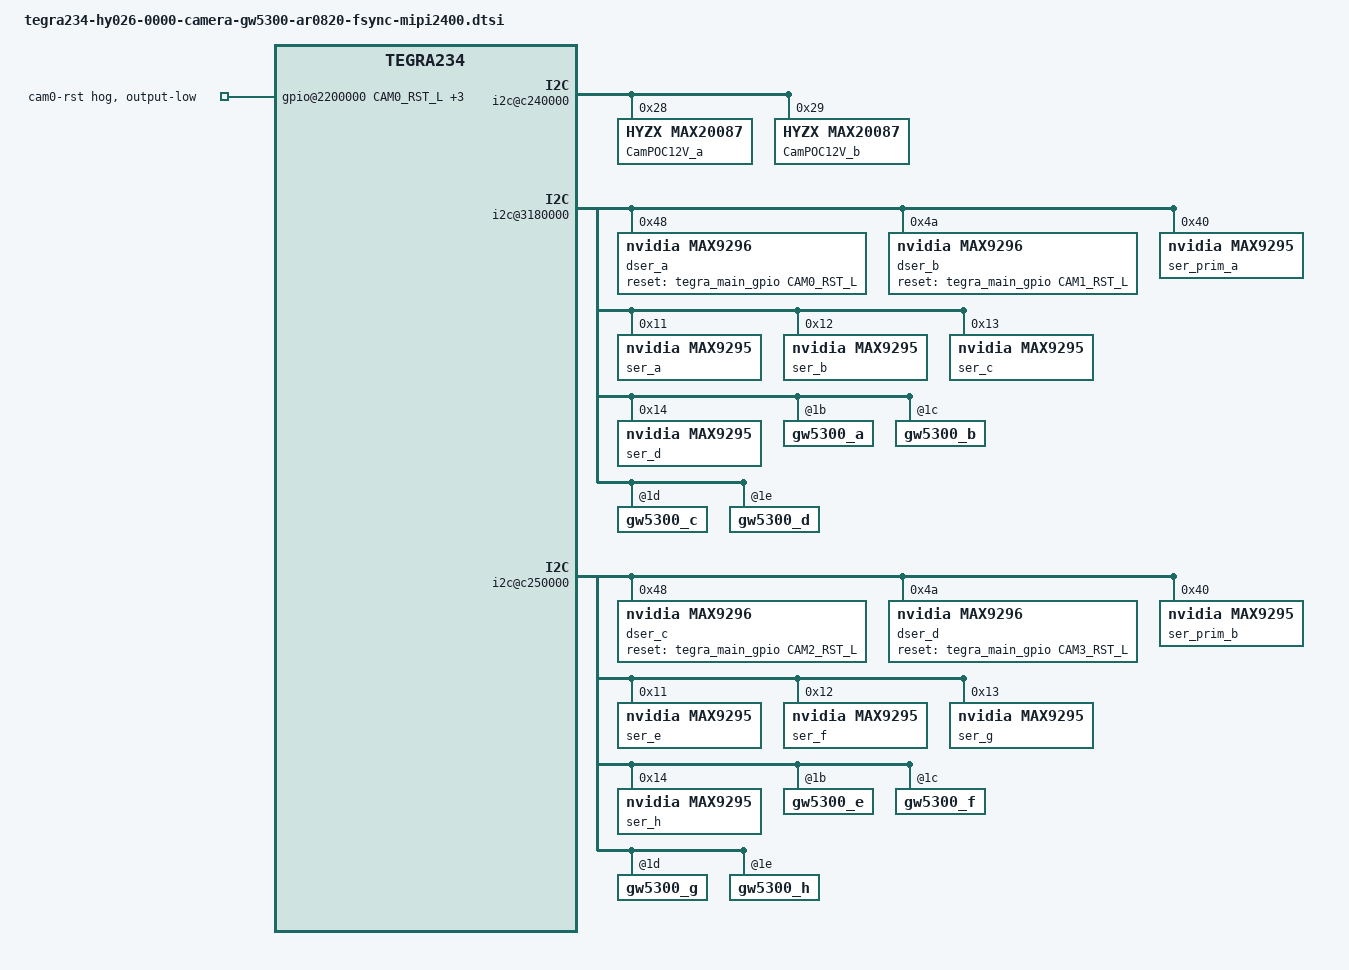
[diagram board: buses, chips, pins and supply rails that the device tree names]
/*
 * Copyright (c) 2018-2019, NVIDIA CORPORATION.  All rights reserved.
 *
 * This program is free software; you can redistribute it and/or modify
 * it under the terms of the GNU General Public License as published by
 * the Free Software Foundation; either version 2 of the License, or
 * (at your option) any later version.
 *
 * This program is distributed in the hope that it will be useful, but WITHOUT
 * ANY WARRANTY; without even the implied warranty of MERCHANTABILITY or
 * FITNESS FOR A PARTICULAR PURPOSE.  See the GNU General Public License for
 * more details.
 *
 * You should have received a copy of the GNU General Public License
 * along with this program.  If not, see <http://www.gnu.org/licenses/>.
 */
#include <t234-common-modules/tegra234-hy026-camera-gw5300-ar0820.dtsi>
#include "dt-bindings/clock/tegra234-clock.h"

#define CAMERA_I2C_MUX_BUS(x) (0x1E + x)

/* camera control gpio definitions */

/ {

	/* set camera gpio direction to output */
	gpio@2200000 {
		camera-control-output-low {
			gpio-hog;
			output-low;
			gpios = <CAM0_RST_L 0 CAM1_RST_L 0
				 CAM2_RST_L 0 CAM3_RST_L 0>;

			label = "cam0-rst", "cam1-rst",
				"cam2-rst", "cam3-rst";
		};
	};

	i2c@c240000 {
        CamPOC12V_a: max2008X@00{
            compatible = "HYZX,max20087";
            reg = <0x28>;
            out-ports = <4>;
            out-boot-on = <1 1 1 1>;
            power-on-delay = <250>;
            status = "okay";
        };
        CamPOC12V_b: max2008X@01{
            compatible = "HYZX,max20087";
            reg = <0x29>;
            out-ports = <4>;
            out-boot-on = <1 1 1 1>;
            power-on-delay = <250>;
            status = "okay";
        };
	};

	i2c@3180000 {
				dser_a: max9296@48{
					compatible = "nvidia,max9296";
					reg = <0x48>;
					csi-mode = "2x4";
					max-src = <2>;
					dser-num = <0>;
					mipi-clk = <2400>;  /* mipi-clk: MHz */
					reset-gpios = <&tegra_main_gpio CAM0_RST_L GPIO_ACTIVE_HIGH>;
				};

				dser_b: max9296@4a{
					compatible = "nvidia,max9296";
					reg = <0x4a>;
					csi-mode = "2x4";
					max-src = <2>;
					dser-num = <1>;
					mipi-clk = <2400>;  /* mipi-clk: MHz */
					reset-gpios = <&tegra_main_gpio CAM1_RST_L GPIO_ACTIVE_HIGH>;
				};

				ser_prim_a: max9295_prim@40 {
					compatible = "nvidia,max9295";
					reg = <0x40>;
					group=<0>;
					is-prim-ser;
				};
				ser_a: max9295_a@11 {
					compatible = "nvidia,max9295";
					reg = <0x11>;
					group=<0>;
					dser-num = <0>;
					nvidia,gmsl-dser-device = <&dser_a>;
				};
				ser_b: max9295_b@12 {
					compatible = "nvidia,max9295";
					reg = <0x12>;
					group=<0>;
					dser-num = <0>;
					nvidia,gmsl-dser-device = <&dser_a>;
				};
				ser_c: max9295_c@13 {
					compatible = "nvidia,max9295";
					reg = <0x13>;
					group=<0>;
					dser-num = <1>;
					nvidia,gmsl-dser-device = <&dser_b>;
				};
				ser_d: max9295_d@14 {
					compatible = "nvidia,max9295";
					reg = <0x14>;
					group=<0>;
					dser-num = <1>;
					nvidia,gmsl-dser-device = <&dser_b>;
				};
				gw5300_a@1b {
					def-addr = <0x6d>;
					clocks = <&bpmp_clks TEGRA234_CLK_EXTPERIPH1>,
							<&bpmp_clks TEGRA234_CLK_EXTPERIPH1>;
					clock-names = "extperiph1", "pllp_grtba";
					mclk = "extperiph1";
					dser-num = <0>;
					nvidia,gmsl-ser-device = <&ser_a>;
					nvidia,gmsl-dser-device = <&dser_a>;
					gmsl-link {
						frame-sync-en;
					};
				};
				gw5300_b@1c {
					def-addr = <0x6d>;
					clocks = <&bpmp_clks TEGRA234_CLK_EXTPERIPH1>,
							<&bpmp_clks TEGRA234_CLK_EXTPERIPH1>;
					clock-names = "extperiph1", "pllp_grtba";
					mclk = "extperiph1";
					dser-num = <0>;
					nvidia,gmsl-ser-device = <&ser_b>;
					nvidia,gmsl-dser-device = <&dser_a>;
					gmsl-link {
						frame-sync-en;
					};
				};
				gw5300_c@1d {
					def-addr = <0x6d>;
					clocks = <&bpmp_clks TEGRA234_CLK_EXTPERIPH1>,
							<&bpmp_clks TEGRA234_CLK_EXTPERIPH1>;
					clock-names = "extperiph1", "pllp_grtba";
					mclk = "extperiph1";
					dser-num = <1>;
					nvidia,gmsl-ser-device = <&ser_c>;
					nvidia,gmsl-dser-device = <&dser_b>;
					gmsl-link {
						frame-sync-en;
					};
				};
				gw5300_d@1e {
					def-addr = <0x6d>;
					clocks = <&bpmp_clks TEGRA234_CLK_EXTPERIPH1>,
							<&bpmp_clks TEGRA234_CLK_EXTPERIPH1>;
					clock-names = "extperiph1", "pllp_grtba";
					mclk = "extperiph1";
					dser-num = <1>;
					nvidia,gmsl-ser-device = <&ser_d>;
					nvidia,gmsl-dser-device = <&dser_b>;
					gmsl-link {
						frame-sync-en;
					};
				};
	};


    #if 1
	i2c@c250000 {
				dser_c: max9296@48{
					compatible = "nvidia,max9296";
					reg = <0x48>;
					csi-mode = "2x4";
					max-src = <2>;
					dser-num = <2>;
					mipi-clk = <1200>;  /* mipi-clk: MHz */
					reset-gpios = <&tegra_main_gpio CAM2_RST_L GPIO_ACTIVE_HIGH>;
				};

				dser_d: max9296@4a{
					compatible = "nvidia,max9296";
					reg = <0x4a>;
					csi-mode = "2x4";
					max-src = <2>;
					dser-num = <3>;
					mipi-clk = <2400>;  /* mipi-clk: MHz */
					reset-gpios = <&tegra_main_gpio CAM3_RST_L GPIO_ACTIVE_HIGH>;
				};
				ser_prim_b: max9295_prim@40 {
					compatible = "nvidia,max9295";
					reg = <0x40>;
					group=<1>;
					is-prim-ser1;
				};
				ser_e: max9295_e@11 {
					compatible = "nvidia,max9295";
					reg = <0x11>;
					group=<1>;
					dser-num = <2>;
					nvidia,gmsl-dser-device = <&dser_c>;
				};
				ser_f: max9295_f@12 {
					compatible = "nvidia,max9295";
					reg = <0x12>;
					group=<1>;
					dser-num = <2>;
					nvidia,gmsl-dser-device = <&dser_c>;
				};
				ser_g: max9295_g@13 {
					compatible = "nvidia,max9295";
					reg = <0x13>;
					group=<1>;
					dser-num = <3>;
					nvidia,gmsl-dser-device = <&dser_d>;
				};
				ser_h: max9295_h@14 {
					compatible = "nvidia,max9295";
					reg = <0x14>;
					group=<1>;
					dser-num = <3>;
					nvidia,gmsl-dser-device = <&dser_d>;
				};

				gw5300_e@1b {
					def-addr = <0x6d>;
					/* Define any required hw resources needed by driver */
					/* ie. clocks, io pins, power sources */
					clocks = <&bpmp_clks TEGRA234_CLK_EXTPERIPH1>,
							<&bpmp_clks TEGRA234_CLK_EXTPERIPH1>;
					clock-names = "extperiph1", "pllp_grtba";
					mclk = "extperiph1";
					dser-num = <2>;
					nvidia,gmsl-ser-device = <&ser_e>;
					nvidia,gmsl-dser-device = <&dser_c>;
					gmsl-link {
						frame-sync-en;
					};
				};
				gw5300_f@1c {
					def-addr = <0x6d>;
					/* Define any required hw resources needed by driver */
					/* ie. clocks, io pins, power sources */
					clocks = <&bpmp_clks TEGRA234_CLK_EXTPERIPH1>,
							<&bpmp_clks TEGRA234_CLK_EXTPERIPH1>;
					clock-names = "extperiph1", "pllp_grtba";
					mclk = "extperiph1";
					dser-num = <2>;
					nvidia,gmsl-ser-device = <&ser_f>;
					nvidia,gmsl-dser-device = <&dser_c>;
					gmsl-link {
						frame-sync-en;
					};
				};
				gw5300_g@1d {
					def-addr = <0x6d>;
					/* Define any required hw resources needed by driver */
					/* ie. clocks, io pins, power sources */
					clocks = <&bpmp_clks TEGRA234_CLK_EXTPERIPH1>,
							<&bpmp_clks TEGRA234_CLK_EXTPERIPH1>;
					clock-names = "extperiph1", "pllp_grtba";
					mclk = "extperiph1";
					dser-num = <3>;
					nvidia,gmsl-ser-device = <&ser_g>;
					nvidia,gmsl-dser-device = <&dser_d>;
					gmsl-link {
						frame-sync-en;
					};
				};
				gw5300_h@1e {
					def-addr = <0x6d>;
					/* Define any required hw resources needed by driver */
					/* ie. clocks, io pins, power sources */
					clocks = <&bpmp_clks TEGRA234_CLK_EXTPERIPH1>,
							<&bpmp_clks TEGRA234_CLK_EXTPERIPH1>;
					clock-names = "extperiph1", "pllp_grtba";
					mclk = "extperiph1";
					dser-num = <3>;
					nvidia,gmsl-ser-device = <&ser_h>;
					nvidia,gmsl-dser-device = <&dser_d>;
					gmsl-link {
						frame-sync-en;
					};
				};
	};
    #endif


};
